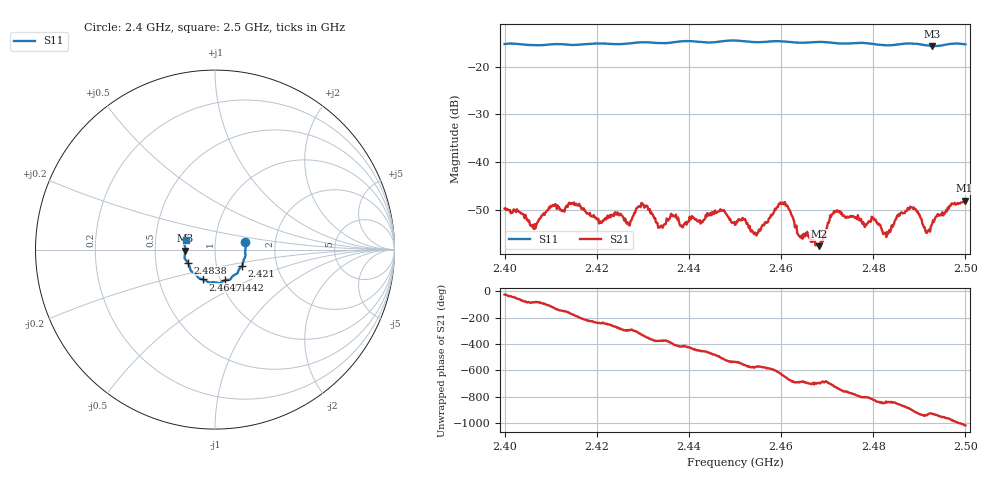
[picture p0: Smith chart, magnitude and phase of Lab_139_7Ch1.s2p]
# Hz S RI R 50
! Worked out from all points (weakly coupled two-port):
!   601 points, 2.4 GHz to 2.5 GHz, reference 50 ohm
!   highest |S21| = -48.08 dB at 2.4998 GHz (marker M1); lowest = -57.7 dB at 2.4682 GHz (marker M2)
!   lowest |S11| = -15.6 dB at 2.4928 GHz (marker M3), VSWR 1.40, Z = 35.8 - j0.42 ohm
!   |S11| at or under -10 dB: start of sweep to end of sweep
!   S12 and S22 are empty: the file has one direction only
!   S11 on the Smith chart (normalised r, x): 2.4 GHz: 1.40, +0.12; 2.421 GHz: 1.33, -0.24; 2.4442 GHz: 1.05, -0.37; 2.4647 GHz: 0.83, -0.28; 2.4838 GHz: 0.73, -0.11; 2.5 GHz: 0.71, +0.08
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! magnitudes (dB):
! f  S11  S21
! 2.4 GHz  -15.2  -49.7
! 2.4063 GHz  -15.4  -54.0
! 2.4105 GHz  -15.2  -49.0
! 2.4167 GHz  -15.3  -49.8
! 2.421 GHz  -15.1  -52.8
! 2.427 GHz  -15.1  -53.3
! 2.4302 GHz  -14.8  -49.0
! 2.4333 GHz  -15.0  -53.8
! 2.4442 GHz  -14.9  -51.2
! 2.45 GHz  -14.5  -53.2
! 2.4545 GHz  -14.8  -55.1
! 2.4603 GHz  -14.7  -48.5
! 2.4647 GHz  -14.9  -56.1
! 2.4667 GHz  -14.8  -56.6
! 2.4682 GHz  -14.8  -57.7
! 2.472 GHz  -15.0  -50.4
! 2.4833 GHz  -15.5  -54.8
! 2.4838 GHz  -15.5  -54.2
! 2.488 GHz  -15.1  -49.4
! 2.4928 GHz  -15.6  -52.8
! 2.4998 GHz  -15.3  -48.1
! 2.5 GHz  -15.3  -48.4
